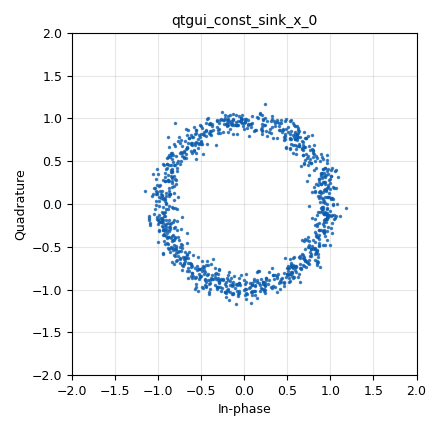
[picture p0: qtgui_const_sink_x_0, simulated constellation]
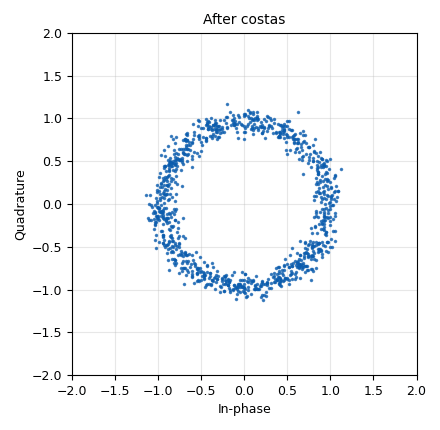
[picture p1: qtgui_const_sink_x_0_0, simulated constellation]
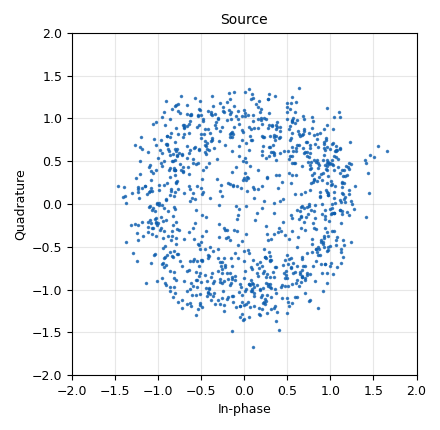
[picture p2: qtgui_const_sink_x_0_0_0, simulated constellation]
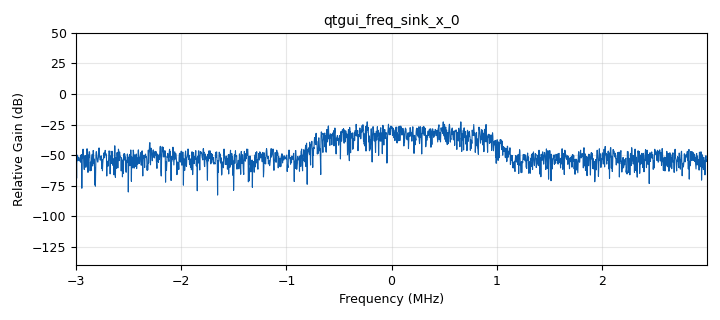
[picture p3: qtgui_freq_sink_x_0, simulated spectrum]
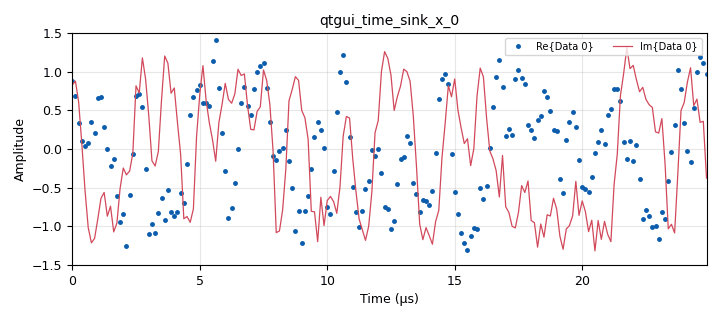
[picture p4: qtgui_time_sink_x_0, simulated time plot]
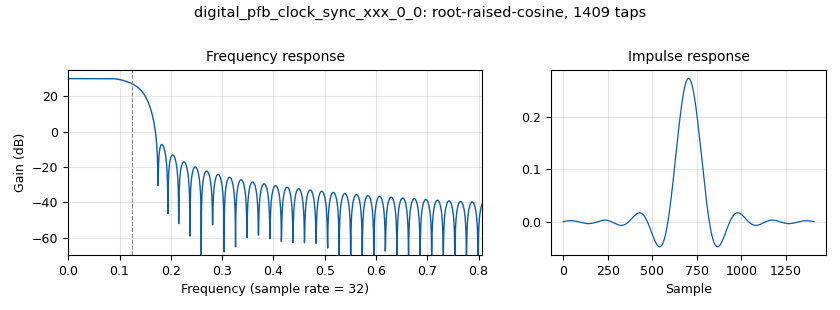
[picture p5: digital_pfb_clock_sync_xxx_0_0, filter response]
options:
  parameters:
    author: Daniel Estevez
    description: K2SAT S-band image decoder
    generate_options: qt_gui
    id: k2sat_image
    output_language: python
    title: K2SAT S-band image decoder
  states: {}

blocks:
- name: center_freq
  id: variable
  parameters:
    value: 2.228e6
  states: {}
- name: dec_cc
  id: variable_cc_decoder_def
  parameters:
    framebits: '80'
    k: '7'
    mode: fec.CC_STREAMING
    ndim: '0'
    padding: 'False'
    polys: '[79, 109]'
    rate: '2'
    state_end: '-1'
    state_start: '0'
  states: {}
- name: dec_cc_0
  id: variable_cc_decoder_def
  parameters:
    framebits: '80'
    k: '7'
    mode: fec.CC_STREAMING
    ndim: '0'
    padding: 'False'
    polys: '[79, 109]'
    rate: '2'
    state_end: '-1'
    state_start: '0'
  states: {}
- name: freq_offset
  id: variable_qtgui_range
  parameters:
    label: freq_offset
    start: '-100e-3'
    step: '1e-3'
    stop: '100e-3'
    value: '25e-3'
  states: {}
- name: lowpass_taps
  id: variable_low_pass_filter_taps
  parameters:
    cutoff_freq: center_freq + 0.5e6
    gain: '1.0'
    samp_rate: samp_rate
    width: 4*10e3
    win: window.WIN_HAMMING
  states: {}
- name: nfilts
  id: variable
  parameters:
    value: '32'
  states: {}
- name: noise_v
  id: variable_qtgui_range
  parameters:
    label: noise_voltage
    start: '0'
    step: '10e-3'
    stop: '100'
    value: '200e-3'
  states: {}
- name: qpsk_const
  id: variable_constellation_rect
  parameters:
    const_points: '[-1-1j, -1+1j, 1+1j, 1-1j]'
    imag_sect: '2'
    real_sect: '2'
    rot_sym: '4'
    sym_map: '[0, 1, 3, 2]'
    w_imag_sect: '1'
    w_real_sect: '1'
  states: {}
- name: rrc_taps
  id: variable
  parameters:
    value: firdes.root_raised_cosine(nfilts,nfilts,1/float(samp_per_sym),0.35,11*samp_per_sym*nfilts)
  states: {}
- name: samp_per_sym
  id: variable
  parameters:
    value: '4'
  states: {}
- name: samp_rate
  id: variable
  parameters:
    value: 8e6
  states: {}
- name: syncword
  id: variable
  parameters:
    value: '"0101010101111110"'
  states: {}
- name: time_offset
  id: variable_qtgui_range
  parameters:
    label: time_offset
    start: '999e-3'
    step: '100e-6'
    stop: '1.001'
    value: '1.0005'
  states: {}
- name: analog_random_source_x_0
  id: analog_random_source_x
  parameters:
    max: '255'
    min: '0'
    num_samps: '100000'
    repeat: 'True'
    type: byte
  states: {}
- name: blocks_complex_to_float_0
  id: blocks_complex_to_float
  parameters: {}
  states: {}
- name: blocks_complex_to_float_0_0
  id: blocks_complex_to_float
  parameters: {}
  states: {}
- name: blocks_file_source_0_0
  id: blocks_file_source
  parameters:
    file: /home/josh/git/ex2_sdr/gnuradio_sband/2mbps_8msps_noscramble_attenuated.dat
    repeat: 'True'
    type: short
  states: {state: disabled}
- name: blocks_interleave_0
  id: blocks_interleave
  parameters:
    type: float
  states: {}
- name: blocks_interleave_0_0
  id: blocks_interleave
  parameters:
    type: float
  states: {}
- name: blocks_interleaved_short_to_complex_0
  id: blocks_interleaved_short_to_complex
  parameters:
    scale_factor: '1.0'
    vector_input: 'False'
  states: {state: disabled}
- name: blocks_multiply_const_vxx_0
  id: blocks_multiply_const_vxx
  parameters:
    const: 1j
    type: complex
  states: {}
- name: blocks_multiply_const_vxx_1
  id: blocks_multiply_const_vxx
  parameters:
    const: 1/300
    type: complex
  states: {state: disabled}
- name: blocks_socket_pdu_0
  id: blocks_socket_pdu
  parameters:
    host: 127.0.0.1
    mtu: '10000'
    port: '4321'
    tcp_no_delay: 'False'
    type: TCP_SERVER
  states: {}
- name: blocks_throttle_0
  id: blocks_throttle
  parameters:
    samples_per_second: samp_rate
    type: complex
  states: {}
- name: channels_channel_model_0
  id: channels_channel_model
  parameters:
    epsilon: time_offset
    freq_offset: freq_offset
    noise_voltage: noise_v
    seed: '0'
    taps: '1'
  states: {}
- name: digital_constellation_modulator_0
  id: digital_constellation_modulator
  parameters:
    constellation: qpsk_const
    differential: 'True'
    excess_bw: '0.35'
    samples_per_symbol: '4'
  states: {}
- name: digital_costas_loop_cc_1
  id: digital_costas_loop_cc
  parameters:
    order: '4'
    w: '0.01'
  states: {}
- name: digital_diff_decoder_bb_0
  id: digital_diff_decoder_bb
  parameters:
    coding: digital.DIFF_DIFFERENTIAL
    modulus: '2'
  states: {}
- name: digital_diff_decoder_bb_0_0
  id: digital_diff_decoder_bb
  parameters:
    coding: digital.DIFF_DIFFERENTIAL
    modulus: '2'
  states: {}
- name: digital_pfb_clock_sync_xxx_0_0
  id: digital_pfb_clock_sync_xxx
  parameters:
    filter_size: nfilts
    init_phase: '0'
    loop_bw: '0.0628'
    max_dev: '0.5'
    osps: '1'
    sps: samp_per_sym
    taps: rrc_taps
    type: ccf
  states: {}
- name: fec_extended_decoder_0_0
  id: fec_extended_decoder
  parameters:
    decoder_list: dec_cc
    puncpat: '''11'''
    threadtype: none
  states: {}
- name: fec_extended_decoder_0_0_0
  id: fec_extended_decoder
  parameters:
    decoder_list: dec_cc_0
    puncpat: '''11'''
    threadtype: none
  states: {}
- name: note_0
  id: note
  parameters:
    note: Amplitude ~= 300 for some reason
  states: {}
- name: qtgui_const_sink_x_0
  id: qtgui_const_sink_x
  parameters:
    size: '1024'
    type: complex
  states: {}
- name: qtgui_const_sink_x_0_0
  id: qtgui_const_sink_x
  parameters:
    name: After costas
    size: '1024'
    type: complex
  states: {}
- name: qtgui_const_sink_x_0_0_0
  id: qtgui_const_sink_x
  parameters:
    name: Source
    size: '1024'
    type: complex
  states: {}
- name: qtgui_freq_sink_x_0
  id: qtgui_freq_sink_x
  parameters:
    bw: 6e6
    fc: '0'
    fftsize: '2048'
    type: complex
    wintype: window.WIN_HAMMING
    ymax: '50'
  states: {}
- name: qtgui_time_sink_x_0
  id: qtgui_time_sink_x
  parameters:
    marker1: '0'
    size: '200'
    srate: samp_rate
    style1: '0'
    type: complex
    update_time: '0.2'
    ymax: '1.5'
    ymin: '-1.5'
  states: {}
- name: satellites_descrambler308_0
  id: satellites_descrambler308
  parameters: {}
  states: {state: bypassed}
- name: satellites_rms_agc_0
  id: satellites_rms_agc
  parameters:
    alpha: '1e-3'
    reference: '0.5'
  states: {state: disabled}
- name: satellites_sync_to_pdu_packed_0_0
  id: satellites_sync_to_pdu_packed
  parameters:
    packlen: '2200'
    sync: '''0101010101111110'''
    threshold: '0'
  states: {}
- name: satellites_sync_to_pdu_packed_0_0_0
  id: satellites_sync_to_pdu_packed
  parameters:
    packlen: '2200'
    sync: '''0101010101111110'''
    threshold: '0'
  states: {}

connections:
- [analog_random_source_x_0, '0', digital_constellation_modulator_0, '0']
- [blocks_complex_to_float_0, '0', blocks_interleave_0, '0']
- [blocks_complex_to_float_0, '1', blocks_interleave_0, '1']
- [blocks_complex_to_float_0_0, '0', blocks_interleave_0_0, '0']
- [blocks_complex_to_float_0_0, '1', blocks_interleave_0_0, '1']
- [blocks_file_source_0_0, '0', blocks_interleaved_short_to_complex_0, '0']
- [blocks_interleave_0, '0', fec_extended_decoder_0_0, '0']
- [blocks_interleave_0_0, '0', fec_extended_decoder_0_0_0, '0']
- [blocks_interleaved_short_to_complex_0, '0', blocks_multiply_const_vxx_1, '0']
- [blocks_interleaved_short_to_complex_0, '0', blocks_throttle_0, '0']
- [blocks_multiply_const_vxx_0, '0', blocks_complex_to_float_0_0, '0']
- [blocks_multiply_const_vxx_1, '0', digital_pfb_clock_sync_xxx_0_0, '0']
- [blocks_throttle_0, '0', digital_pfb_clock_sync_xxx_0_0, '0']
- [blocks_throttle_0, '0', qtgui_freq_sink_x_0, '0']
- [blocks_throttle_0, '0', qtgui_time_sink_x_0, '0']
- [channels_channel_model_0, '0', blocks_throttle_0, '0']
- [channels_channel_model_0, '0', qtgui_const_sink_x_0_0_0, '0']
- [digital_constellation_modulator_0, '0', channels_channel_model_0, '0']
- [digital_costas_loop_cc_1, '0', blocks_complex_to_float_0, '0']
- [digital_costas_loop_cc_1, '0', blocks_multiply_const_vxx_0, '0']
- [digital_costas_loop_cc_1, '0', qtgui_const_sink_x_0_0, '0']
- [digital_diff_decoder_bb_0, '0', satellites_descrambler308_0, '0']
- [digital_diff_decoder_bb_0_0, '0', satellites_sync_to_pdu_packed_0_0_0, '0']
- [digital_pfb_clock_sync_xxx_0_0, '0', digital_costas_loop_cc_1, '0']
- [digital_pfb_clock_sync_xxx_0_0, '0', qtgui_const_sink_x_0, '0']
- [fec_extended_decoder_0_0, '0', digital_diff_decoder_bb_0, '0']
- [fec_extended_decoder_0_0_0, '0', digital_diff_decoder_bb_0_0, '0']
- [satellites_descrambler308_0, '0', satellites_sync_to_pdu_packed_0_0, '0']
- [satellites_rms_agc_0, '0', digital_costas_loop_cc_1, '0']
- [satellites_sync_to_pdu_packed_0_0, out, blocks_socket_pdu_0, pdus]
- [satellites_sync_to_pdu_packed_0_0_0, out, blocks_socket_pdu_0, pdus]

metadata:
  file_format: 1
